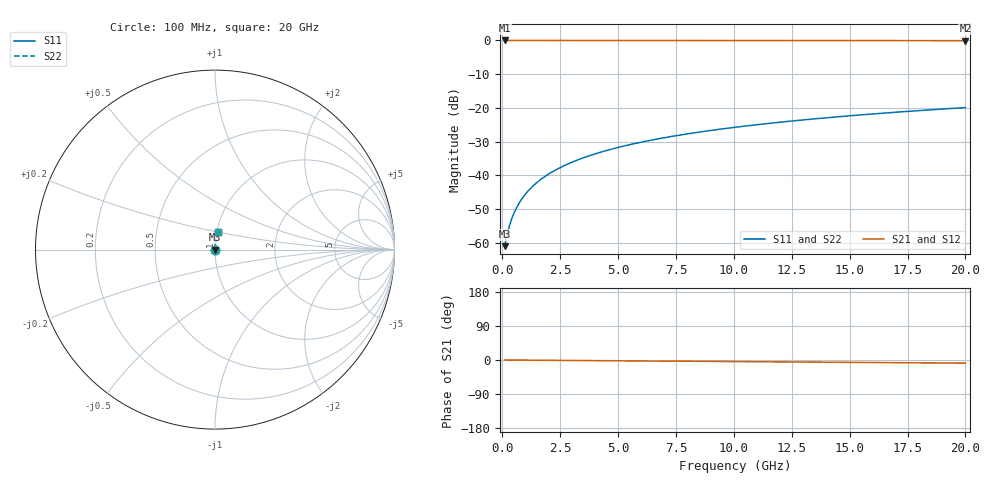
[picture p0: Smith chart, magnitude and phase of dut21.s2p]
! Touchstone file exported from HFSS 2026.1.0
!  File:  C:/ffzhzh/LocalFiles/Ansys_Project_Files/temp_train_TSV_21_1782958171_45748.aedt
!  Generated:  10:11:38 AM Jul  2, 2026
!  Design:  TSV
!  Project:  temp_train_TSV_21_1782958171_45748
! Variables:
!  h_bsmrdl = 2um
!  h_ox = 20um
!  h_rdl = 5um
!  h_sub = 50.69um
!  h_tmrdl = 5um
!  h_tsv = 50.69um
!  h_via = 3um
!  l_bsmrdl = 300um
!  l_sub = 405.84um
!  l_tmrdl = 200um
!  m_sub = 200um
!  pitch = 49.59um
!  r_tsv = 2.92um
!  s_tmrdl = 10um
!  w_bsmrdl = 18um
!  w_sub = 500um
!  w_tmrdl = 12um
!  x_tsv_center1 = 206um
!  x_tsv_center2 = 524um
!  x_tsv_center3 = 736um
!  x_tsv_center4 = 1054um
!  x_tsv_center5 = 1266um
!  x_tsv_center6 = 1584um
# GHz S MA R 50.000000
! Terminal data exported
! Port[1] = TSV1_1_T1
! Port[2] = TSV1_1_T2
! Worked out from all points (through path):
!   200 points, 100 MHz to 20 GHz, reference 50 ohm
!   highest |S21| = -0.01 dB at 100 MHz (marker M1); lowest = -0.1 dB at 20 GHz (marker M2)
!   group delay of S21, straight-line fit = 1.15 ps
!   lowest |S11| = -61.0 dB at 100 MHz (marker M3), VSWR 1.00, Z = 50.1 + j0.0531 ohm
!   |S11| at or under -10 dB: start of sweep to end of sweep
!   |S22| runs from -61.0 to -19.9 dB; largest |S21 - S12| = 5.5e-15
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0.1  0.0008911 36.5  0.9993 -0.0  0.9993 -0.0  0.0008911 36.5
! Gamma 0 0 0 0
! Port Impedance 50 0 50 0
0.2  0.001281 55.6  0.9993 -0.1  0.9993 -0.1  0.001281 55.6
0.3  0.001743 65.2  0.9993 -0.1  0.9993 -0.1  0.001743 65.2
0.4  0.002231 70.6  0.9993 -0.2  0.9993 -0.2  0.002231 70.6
0.5  0.00273 74.0  0.9993 -0.2  0.9993 -0.2  0.00273 74.0
0.6  0.003234 76.4  0.9992 -0.3  0.9992 -0.3  0.003234 76.4
0.8  0.004253 79.4  0.9992 -0.3  0.9992 -0.3  0.004253 79.4
1.1  0.005794 81.9  0.9992 -0.5  0.9992 -0.5  0.005794 81.9
1.5  0.007858 83.6  0.9992 -0.6  0.9992 -0.6  0.007858 83.6
1.8  0.00941 84.4  0.9992 -0.8  0.9992 -0.8  0.00941 84.4
2.1  0.01096 84.9  0.9991 -0.9  0.9991 -0.9  0.01096 84.9
2.7  0.01407 85.4  0.9991 -1.1  0.9991 -1.1  0.01407 85.4
3.5  0.0182 85.7  0.9989 -1.5  0.9989 -1.5  0.0182 85.7
4.2  0.02181 85.7  0.9988 -1.8  0.9988 -1.8  0.02181 85.7
5  0.02592 85.6  0.9986 -2.1  0.9986 -2.1  0.02592 85.6
5.9  0.03054 85.4  0.9984 -2.5  0.9984 -2.5  0.03054 85.4
6.8  0.03513 85.2  0.9982 -2.9  0.9982 -2.9  0.03513 85.2
8.3  0.04275 84.7  0.9977 -3.5  0.9977 -3.5  0.04275 84.7
10.1  0.05184 84.1  0.9971 -4.2  0.9971 -4.2  0.05184 84.1
13.4  0.06838 82.9  0.9958 -5.6  0.9958 -5.6  0.06838 82.9
16.7  0.08478 81.7  0.9943 -6.9  0.9943 -6.9  0.08478 81.7
20  0.101 80.4  0.9926 -8.3  0.9926 -8.3  0.101 80.4
